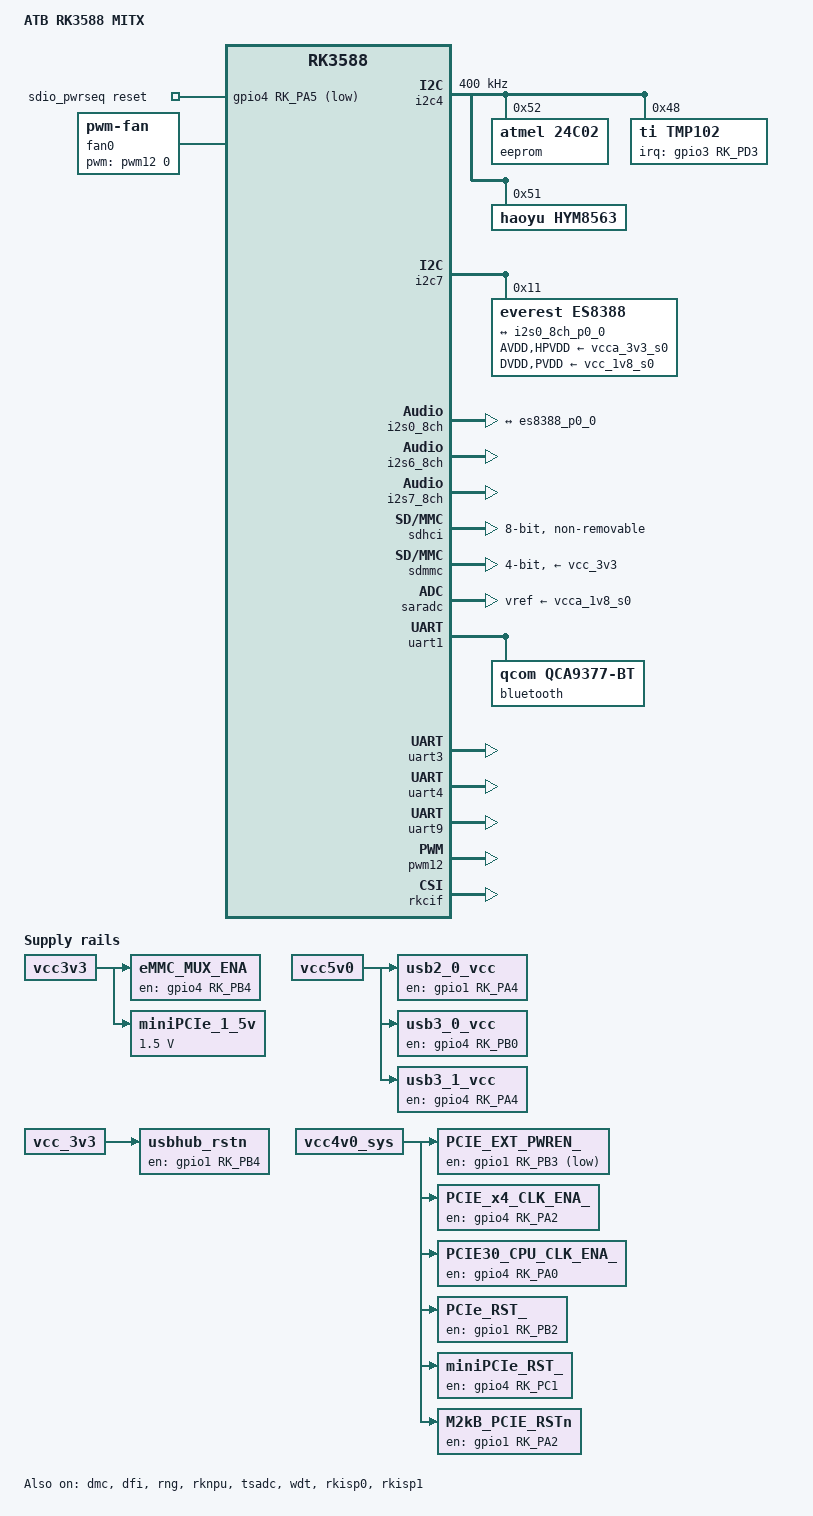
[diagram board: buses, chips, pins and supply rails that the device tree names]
/dts-v1/;

#include <dt-bindings/gpio/gpio.h>
#include <dt-bindings/leds/common.h>
#include <dt-bindings/pwm/pwm.h>
#include <dt-bindings/pinctrl/rockchip.h>
#include <dt-bindings/input/rk-input.h>
#include <dt-bindings/display/drm_mipi_dsi.h>
#include <dt-bindings/display/rockchip_vop.h>
#include <dt-bindings/sensor-dev.h>
#include "dt-bindings/usb/pd.h"
#include "rockchip/rk3588.dtsi"

#include "atb-rk3588-mitx-codecs.dtsi"
#include "atb-rk3588-mitx-ethernet.dtsi"
#include "atb-rk3588-mitx-pci.dtsi"
#include "atb-rk3588-mitx-power.dtsi"
#include "atb-rk3588-mitx-usb.dtsi"
#include "atb-rk3588-mitx-video.dtsi"

/ {
	model = "ATB RK3588 MITX";
	compatible = "atb,rk3588-mitx", "rockchip,rk3588";

	aliases {
		ethernet0 = &gmac0;
		ethernet1 = &gmac1;
		mmc0 = &sdhci;
		mmc1 = &sdmmc;
	};
	
	chosen: chosen {
		bootargs = "earlycon=uart8250,mmio32,0xfeb50000 console=ttyFIQ0";
		stdout-path = "serial2:115200n8";
	};

	//DEBUG ON UART2
	fiq_debugger: fiq-debugger {
		compatible = "rockchip,fiq-debugger";
		rockchip,serial-id = <2>;
		rockchip,wake-irq = <0>;
		//If enable uart uses irq instead of fiq
		rockchip,irq-mode-enable = <1>;
		rockchip,baudrate = <115200>;  // Only 115200 and 1500000
		interrupts = <GIC_SPI 423 IRQ_TYPE_LEVEL_LOW>;
		pinctrl-names = "default";
		pinctrl-0 = <&uart2m0_xfer>;
		status = "okay";
	};
	
	cspmu: cspmu@fd10c000 {
		compatible = "rockchip,cspmu";
		reg = <0x0 0xfd10c000 0x0 0x1000>,
			  <0x0 0xfd10d000 0x0 0x1000>,
			  <0x0 0xfd10e000 0x0 0x1000>,
			  <0x0 0xfd10f000 0x0 0x1000>,
			  <0x0 0xfd12c000 0x0 0x1000>,
			  <0x0 0xfd12d000 0x0 0x1000>,
			  <0x0 0xfd12e000 0x0 0x1000>,
			  <0x0 0xfd12f000 0x0 0x1000>;
	};

	debug: debug@fd104000 {
		compatible = "rockchip,debug";
		reg = <0x0 0xfd104000 0x0 0x1000>,
			  <0x0 0xfd105000 0x0 0x1000>,
			  <0x0 0xfd106000 0x0 0x1000>,
			  <0x0 0xfd107000 0x0 0x1000>,
			  <0x0 0xfd124000 0x0 0x1000>,
			  <0x0 0xfd125000 0x0 0x1000>,
			  <0x0 0xfd126000 0x0 0x1000>,
			  <0x0 0xfd127000 0x0 0x1000>;
	};
	
	firmware {
		optee: optee {
			compatible = "linaro,optee-tz";
			method = "smc";
			//status = "disabled";
		};
	};

	// D13
	eMMC_MUX_ENA: eMMC_MUX_ENA {
		compatible = "regulator-fixed";
		regulator-name = "eMMC_MUX_ENA";
		regulator-always-on;
		regulator-boot-on;
		//enable-active-low;    //FSPI
		enable-active-high; //eMMC
		gpios = <&gpio4 RK_PB4 GPIO_ACTIVE_HIGH>;
		vin-supply = <&vcc3v3>;
	};

	// D16
	//EN_USB2_0_PWR
	usb2_0_vcc: usb2_0_vcc {
		compatible = "regulator-fixed";
		regulator-name = "en_usb2_0_vcc";
		regulator-boot-on;
		regulator-always-on;
		enable-active-high;
		gpios = <&gpio1 RK_PA4 GPIO_ACTIVE_HIGH>;
		vin-supply = <&vcc5v0>;
		status = "okay";
	};

	//D17
	//EN_USB3_0_PWR
	usb3_0_vcc: usb3_0_vcc {
		compatible = "regulator-fixed";
		regulator-name = "en_usb3_0_vcc";
		regulator-boot-on;
		regulator-always-on;
		enable-active-high;
		gpios = <&gpio4 RK_PB0 GPIO_ACTIVE_HIGH>;
		vin-supply = <&vcc5v0>;
		status = "okay";
	};

	//D18
	//EN_USB3_1_PWR
	usb3_1_vcc: usb3_1_vcc {
		compatible = "regulator-fixed";
		regulator-name = "en_usb3_1_vcc";
		regulator-boot-on;
		regulator-always-on;
		enable-active-high;
		gpios = <&gpio4 RK_PA4 GPIO_ACTIVE_HIGH>;
		vin-supply = <&vcc5v0>;
		status = "okay";
	};

	//D19 //D20
	//USBHUB_RSTn
	usbhub_rstn: usbhub_rstn {
		compatible = "regulator-fixed";
		regulator-name = "usbhub_rstn";
		regulator-boot-on;
		regulator-always-on;
		enable-active-high;
		gpios = <&gpio1 RK_PB4 GPIO_ACTIVE_HIGH>;
		vin-supply = <&vcc_3v3>;
		status = "okay";
	};

	//D21 USBHUB0_PWR //Always enable
	//D22 USBHUB1_PWR //Always enable

	//CHECK_IT //Как это работает?
	//D23 M2kB_PCIE_CFG1 //Автовыбор
	//D24 M2kB_PCIE_CFG1 //Автовыбор

	//D25
	miniPCIe_1_5v: miniPCIe_1_5v {
		compatible = "regulator-fixed";
		regulator-name = "vcc_miniPCIe_1_5v";
		regulator-always-on;
		regulator-boot-on;
		regulator-min-microvolt = <1500000>;
		regulator-max-microvolt = <1500000>;
		vin-supply = <&vcc3v3>;
	};
	
	//D39 //D40
	//CHECK_IT //TEST
	/*
	watchdog {
		compatible = "linux,wdt-gpio";
		pinctrl-names = "default";
		pinctrl-0 = <&pinctrl_watchdog_gpio>;
		always-running;
		gpios = <&gpio4 RK_PA7 GPIO_ACTIVE_HIGH>;
		hw_algo = "toggle";
		// Reset triggers in 2..3 seconds 
		hw_margin_ms = <700>;
		// Disabled by default 
		status = "disabled";
	};
	*/
	
	sound {
		compatible = "audio-graph-card";
		label = "rockchip,es8388-codec";
		widgets = "Microphone", "Mic Jack",
			  "Headphone", "Headphones";
		routing = "LINPUT2", "Mic Jack",
			  "Headphones", "LOUT1",
			  "Headphones", "ROUT1";
		dais = <&i2s0_8ch_p0>;
	};
	
	sdio_pwrseq: sdio-pwrseq {
		compatible = "mmc-pwrseq-simple";
		clocks = <&rtc_clock>; // <----------------------------------!!!
		clock-names = "ext_clock"; // <----------------------------------!!!
		pinctrl-names = "default";
		pinctrl-0 = <&wlan_en_pin>;

		//post-power-on-delay-ms = <200>;   //CHECK_IT
		// SDMMC_PWREN_
		reset-gpios = <&gpio4 RK_PA5 GPIO_ACTIVE_LOW>;
	};
	
	//D45
	//mPCIE_m2_SEL  //ВХОД! Рулится джампером X37
	/*
	PciE20_1_Sata_Mux: PciE20_1_Sata_Mux {
		compatible = "regulator-fixed";
		regulator-name = "PciE20_1_Sata_Mux";
		regulator-always-on;
		regulator-boot-on;
		enable-active-high;
		//SATA mPcie Slot
		//gpios = <&gpio4 RK_PB1 GPIO_ACTIVE_LOW>;
		//Sata M.2 E Slot
		gpios = <&gpio4 RK_PB1 GPIO_ACTIVE_HIGH>;
		vin-supply = <&vcc3v3>;
	};
	*/

	// Pcie host power.
	PCIE_EXT_PWREN_: PCIE_EXT_PWREN_ {
		compatible = "regulator-fixed";
		regulator-name = "PCIE_EXT_PWREN_";
		regulator-boot-on;
		regulator-always-on;
		enable-active-low;
		gpios = <&gpio1 RK_PB3 GPIO_ACTIVE_HIGH>;
		vin-supply = <&vcc4v0_sys>;
		status = "okay";
	};
	
	// Pcie host clock.
	PCIE_x4_CLK_ENA_: PCIE_x4_CLK_ENA_ {
		compatible = "regulator-fixed";
		regulator-name = "PCIE_x4_CLK_ENA_";
		regulator-boot-on;
		regulator-always-on;
		enable-active-high;
		gpios = <&gpio4 RK_PA2 GPIO_ACTIVE_HIGH>;
		vin-supply = <&vcc4v0_sys>;
		status = "okay";
	};
	// Pcie host clock.
	PCIE30_CPU_CLK_ENA_: PCIE30_CPU_CLK_ENA_ {
		compatible = "regulator-fixed";
		regulator-name = "PCIE30_CPU_CLK_ENA_";
		regulator-boot-on;
		regulator-always-on;
		enable-active-high;
		gpios = <&gpio4 RK_PA0 GPIO_ACTIVE_HIGH>;
		vin-supply = <&vcc4v0_sys>;
		status = "okay";
	};
	
	// Pcie reset.
	PCIe_RST_: PCIe-RST- {
		compatible = "regulator-fixed";
		regulator-name = "PCIe_RST_";
		regulator-boot-on;
		regulator-always-on;
		enable-active-high;
		gpios = <&gpio1 RK_PB2 GPIO_ACTIVE_HIGH>;
		vin-supply = <&vcc4v0_sys>;
		status = "okay";
	};
	
	//X21
	//m.2 and miniPCIe reset 
	miniPCIe_RST_: miniPCIe_RST_ {
		compatible = "regulator-fixed";
		regulator-name = "miniPCIe_RST_";
		regulator-boot-on;
		regulator-always-on;
		enable-active-high;
		gpios = <&gpio4 RK_PC1 GPIO_ACTIVE_HIGH>;
		vin-supply = <&vcc4v0_sys>;
		status = "okay";
	};
	
	//X38
	//m.2 and miniPCIe reset 
	M2kB_PCIE_RSTn: M2kB_PCIE_RSTn {
		compatible = "regulator-fixed";
		regulator-name = "M2kB_PCIE_RSTn";
		regulator-boot-on;
		regulator-always-on;
		enable-active-high;
		gpios = <&gpio1 RK_PA2 GPIO_ACTIVE_HIGH>;
		vin-supply = <&vcc4v0_sys>;
		status = "okay";
	};

	// If hdmirx node is disabled, delete the reserved-memory node here. 
	reserved-memory {
		#address-cells = <2>;
		#size-cells = <2>;
		ranges;

		// Reserve 256MB memory for hdmirx-controller@fdee0000
		cma {
			compatible = "shared-dma-pool";
			reusable;
			reg = <0x0 (256 * 0x100000) 0x0 (256 * 0x100000)>;
			linux,cma-default;
		};
		drm_logo: drm-logo@00000000 {
			compatible = "rockchip,drm-logo";
			reg = <0x0 0x0 0x0 0x0>;
		};

		drm_cubic_lut: drm-cubic-lut@00000000 {
			compatible = "rockchip,drm-cubic-lut";
			reg = <0x0 0x0 0x0 0x0>;
		};

		ramoops: ramoops@110000 {
			compatible = "ramoops";
			reg = <0x0 0x110000 0x0 0xf0000>;
			record-size = <0x20000>;
			console-size = <0x80000>;
			ftrace-size = <0x00000>;
			pmsg-size = <0x50000>;
		};
	};
	
	test-power {
		status = "okay";
	};
	
	fan0: pwm-fan {
		compatible = "pwm-fan";
		#cooling-cells = <2>;
		cooling-levels = <72 94 117 139 162 184 207 229 255>;
		pwms = <&pwm12 0 10000 0>;
	};
};

&i2c4 {
	clock-frequency = <400000>;
	pinctrl-names = "default";
	pinctrl-0 = <&i2c4m2_xfer>;
	status = "okay";

	//X20 (M.2 key B) SMBUS

	//D37  //Serial AT24C02C-SSHM-T
	//CHECK_IT //FIx addr
	eeprom@50 {
		compatible = "atmel,24c02";
		reg = <0x52>;
	};

	//D38   //Temp Sensor TMP102
	tmp102: tmp102@48{
		compatible = "ti,tmp102";
		reg = <0x48>;
		interrupt-parent = <&gpio3>;
		interrupts = <RK_PD3 IRQ_TYPE_LEVEL_LOW>;
		#thermal-sensor-cells = <0>;
	};
	
	// D43
	hym8563: rtc@51 {
		compatible = "haoyu,hym8563";
		reg = <0x51>;
		#clock-cells = <0>;
		clock-output-names = "rtc_32khz";
		rtc_clock: rtc_clock {
			compatible = "fixed-clock";
			#clock-cells = <0>;
			clock-frequency = <32768>;
		};
	};
	
	//Optional
	//X20 //m.2 Key B
	//X38 //miniPCIe
};

&i2c7 {
	pinctrl-0 = <&i2c7m0_xfer>;
	status = "okay";

	//D41
	es8388: audio-codec@11 {
		compatible = "everest,es8388";
		reg = <0x11>;
		assigned-clock-rates = <12288000>;
		assigned-clocks = <&cru I2S0_8CH_MCLKOUT>;
		AVDD-supply = <&vcca_3v3_s0>;
		clock-names = "mclk";
		clocks = <&cru I2S0_8CH_MCLKOUT>;
		DVDD-supply = <&vcc_1v8_s0>;
		HPVDD-supply = <&vcca_3v3_s0>;
		PVDD-supply = <&vcc_1v8_s0>;
		#sound-dai-cells = <0>;

		port {
			es8388_p0_0: endpoint {
				remote-endpoint = <&i2s0_8ch_p0_0>;
			};
		};
	};
};

//=============================================================================
//  I2S
//=============================================================================
//I2S0
//Typical digital audio I/O
&i2s0_8ch {
	pinctrl-names = "default";
	pinctrl-0 = <&i2s0_lrck
			 &i2s0_mclk
			 &i2s0_sclk
			 &i2s0_sdi0
			 &i2s0_sdo0>;
	status = "okay";

	i2s0_8ch_p0: port {
		i2s0_8ch_p0_0: endpoint {
			dai-format = "i2s";
			mclk-fs = <256>;
			remote-endpoint = <&es8388_p0_0>;
		};
	};
};

//HDMI1 SOUND
&i2s6_8ch {
	status = "okay";
};

//HDMIIN SOUND
&i2s7_8ch {
	status = "okay";
};

//=============================================================================
//  //CPU
//=============================================================================
//D8    //CPU
&cpu_l0 {
	cpu-supply = <&vdd_cpu_lit_s0>;
	mem-supply = <&vdd_cpu_lit_mem_s0>;
};

&cpu_b0 {
	cpu-supply = <&vdd_cpu_big0_s0>;
	mem-supply = <&vdd_cpu_big0_mem_s0>;
};

&cpu_b2 {
	cpu-supply = <&vdd_cpu_big1_s0>;
	mem-supply = <&vdd_cpu_big1_mem_s0>;
};

//=============================================================================
//  //LPDDR4
//=============================================================================
//D9 D10    //LPDDR4
&dmc {
	status = "okay";
	center-supply = <&vdd_ddr_s0>;
	mem-supply = <&vdd_log_s0>;
};
&dfi {
	status = "okay";
};

//=============================================================================
//  //SPI FLASH //Muxed with eMMC   //Control by D13 (TS3A27518ERTWR)
//=============================================================================
//eMMC_MUX_ENA
/*
&sfc {
	status = "okay";
	//max-freq = <50000000>;
	max-freq = <20000000>;
	#address-cells = <1>;
	#size-cells = <0>;
	pinctrl-names = "default";
	pinctrl-0 = <&fspim0_pins>;

	//D12
	spi_flash: spi-flash@0 {
		#address-cells = <1>;
		#size-cells = <0>;
		compatible = "jedec,spi-nor";
		reg = <0x0>;
		//spi-max-frequency = <50000000>;
		spi-max-frequency = <20000000>;
		spi-tx-bus-width = <1>;
		//spi-rx-bus-width = <4>;
		spi-rx-bus-width = <1>;
		status = "okay";
	};
};
*/
//=============================================================================
//  SDIO SD eMMC
//=============================================================================
//D11   //eMMC
//eMMC_MUX_ENA

&sdhci {
	bus-width = <8>;
	no-sdio;
	no-sd;
	non-removable;
	max-frequency = <200000000>;
	mmc-hs400-1_8v;
	mmc-hs400-enhanced-strobe;
	status = "okay";
};

//SD Card
&sdmmc {
	max-frequency = <200000000>;
	no-sdio;
	no-mmc;
	bus-width = <4>;
	cap-mmc-highspeed;
	cap-sd-highspeed;
	disable-wp;
	sd-uhs-sdr104;
	vmmc-supply = <&vcc_3v3>;
	vqmmc-supply = <&vccio_sd_s0>;
	pinctrl-names = "default";
	pinctrl-0 = <&sdmmc_bus4 &sdmmc_clk &sdmmc_cmd &sdmmc_det>;
	status = "okay";
};

//=============================================================================
//  PINCTL
//=============================================================================
&pinctrl {
	watchdog{
		watchdog_gpio_wdi{
			rockchip,pins = <4 RK_PA7 RK_FUNC_GPIO &pcfg_pull_none>;
		};
		watchdog_disable{
			rockchip,pins = <4 RK_PA6 RK_FUNC_GPIO &pcfg_pull_none>;
		};
	};
	
	sdio-pwrseq {
		wlan_en_pin: wlan-en-pin {
			rockchip,pins = <4 RK_PA5 RK_FUNC_GPIO &pcfg_pull_none>;
		};
	};
};

&rng {
	status = "okay";
};

//=============================================================================
//  NPU
//=============================================================================
&rknpu {
	rknpu-supply = <&vdd_npu_s0>;
	mem-supply = <&vdd_npu_mem_s0>;
	status = "okay";
};

&rknpu_mmu {
	status = "okay";
};

//=============================================================================
//  //CHECK_IT //NEED?
//=============================================================================
//CHECK_IT //TEST
//&vcca_1v8_s0 {
//	regulator-state-mem {
//		regulator-on-in-suspend;
//		regulator-suspend-microvolt = <1800000>;
//	};
//};
&saradc {
	status = "okay";
	vref-supply = <&vcca_1v8_s0>;
};


//=============================================================================
//  THERMAL
//=============================================================================

//thermal_zones
&tsadc {
	status = "okay";
};

&soc_thermal {
	polling-delay = <1000>;
	polling-delay-passive = <2000>;
	trips {
		trip0: trip-point@0 {
			temperature = <45000>;
			hysteresis = <5000>;
			type = "active";
		};
		trip1: trip-point@1 {
			temperature = <50000>;
			hysteresis = <5000>;
			type = "active";
		};
		trip2: trip-point@2 {
			temperature = <55000>;
			hysteresis = <5000>;
			type = "active";
		};
		trip3: trip-point@3 {
			temperature = <60000>;
			hysteresis = <5000>;
			type = "active";
		};
		trip4: trip-point@4 {
			temperature = <65000>;
			hysteresis = <5000>;
			type = "active";
		};
		trip5: trip-point@5 {
			temperature = <70000>;
			hysteresis = <5000>;
			type = "active";
		};
		trip6: trip-point@6 {
			temperature = <75000>;
			hysteresis = <5000>;
			type = "active";
		};
		pcritical: trip-point@7 {
			temperature = <80000>;
			hysteresis = <1000>;
			type = "active";
		};
	};
	
	cooling-maps {
		map0 {
			trip = <&trip0>;
			cooling-device = <&fan0 0 1>;
			contribution = <1024>;
		};
		map1 {
			trip = <&trip1>;
			cooling-device = <&fan0 1 2>;
			contribution = <1024>;
		};
		map2 {
			trip = <&trip2>;
			cooling-device = <&fan0 2 3>;
			contribution = <1024>;
		};
		map3 {
			trip = <&trip3>;
			cooling-device = <&fan0 3 4>;
			contribution = <1024>;
		};
		map4 {
			trip = <&trip4>;
			cooling-device = <&fan0 4 5>;
			contribution = <1024>;
		};
		map5 {
			trip = <&trip5>;
			cooling-device = <&fan0 5 6>;
			contribution = <1024>;
		};
		map6 {
			trip = <&trip6>;
			cooling-device = <&fan0 6 7>;
			contribution = <1024>;
		};
		map7 {
			trip = <&pcritical>;
			cooling-device = <&fan0 7 8>;
			contribution = <1024>;
		};
	};
};


//=============================================================================
//  UART
//=============================================================================

&uart1 {
	status = "okay";
	pinctrl-names = "default";
	pinctrl-0 = <&uart1m1_xfer &uart1m1_ctsn &uart1m1_rtsn>;
};

//=============================================================================
//  UART
//=============================================================================
&uart1 {
	pinctrl-names = "default";
	pinctrl-0 = <&uart1m1_xfer &uart1m1_ctsn &uart1m1_rtsn>;
	uart-has-rtscts;
	status = "okay";

	//A1    //8223A-SR
	bluetooth {
		compatible = "qcom,qca9377-bt";
		clocks = <&rtc_clock>;
		clock-names = "lpo";
		//enable-gpios = <&gpio4 RK_PA0 GPIO_ACTIVE_HIGH>; // BT_RST
		max-speed = <2000000>;
		//pinctrl-names = "default";
		//pinctrl-0 = <&bt_en_pin>;
	};
};

//FIQ Debugger
//D33 //USB_UART //DBG_UART //RS232_1 (Не напаян)
/*
&uart2 {
	status = "okay";
	pinctrl-names = "default";
	pinctrl-0 = <&uart2m0_xfer>;
};
*/

//X29 1.8V UART
&uart3 {
	status = "okay";
	pinctrl-names = "default";
	pinctrl-0 = <&uart3m0_xfer>;
};

//X27 RS232_2
&uart4 {
	status = "okay";
	pinctrl-names = "default";
	pinctrl-0 = <&uart4m1_xfer>;
};

//X28 3.3V
&uart9 {
	status = "okay";
	pinctrl-names = "default";
	pinctrl-0 = <&uart9m2_xfer>;
};

//=============================================================================
//  PWM
//=============================================================================

//Fan Speed Control
//CPU_PWM
&pwm12 {
	status = "okay";
	pinctrl-0 = <&pwm12m1_pins>;
	
};

//=============================================================================
//  OTHER
//=============================================================================
// watchdog
&wdt {
	status = "okay";
};

//CHECK_IT
&rkcif {
	status = "okay";
};

&rkcif_mmu {
	status = "okay";
};

&rkisp0 {
	status = "okay";
};

&isp0_mmu {
	status = "okay";
};

&rkisp1 {
	status = "okay";
};

&isp1_mmu {
	status = "okay";
};
